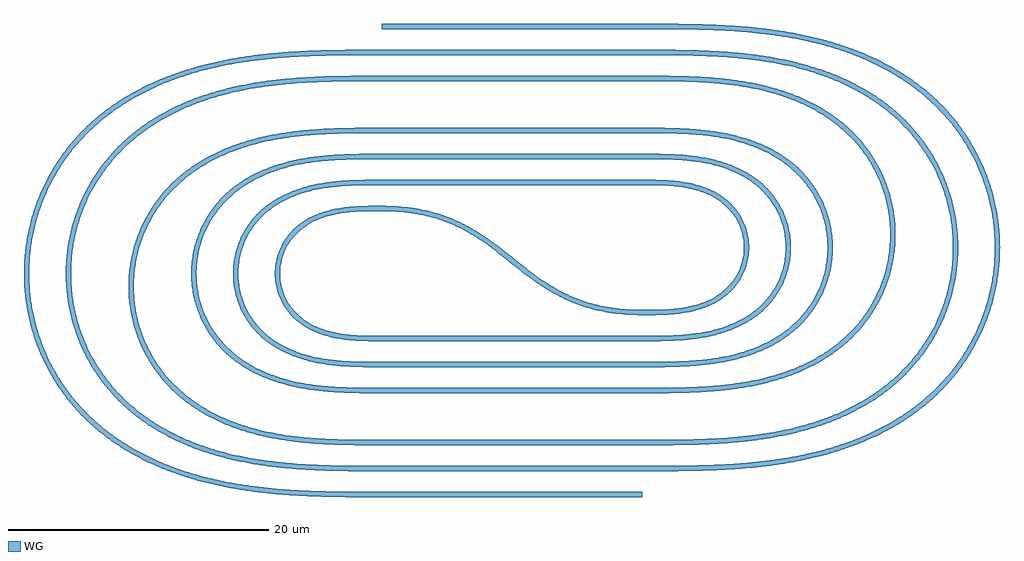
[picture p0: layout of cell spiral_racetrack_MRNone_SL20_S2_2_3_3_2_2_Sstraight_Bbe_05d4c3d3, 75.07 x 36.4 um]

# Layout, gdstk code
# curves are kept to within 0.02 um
from math import pi, radians
import gdstk
lib = gdstk.Library(unit=1e-6, precision=1e-09)
def R(c, l, rs):  # rectangles x0, y0, x1, y1
    for r in rs: c.add(gdstk.rectangle(r[:2], r[2:], *l))
def P(c, l, *ps):  # polygons
    for p in ps: c.add(gdstk.Polygon(p, *l))
WG = (3, 0)

bend_s_s20_m8_csstrip_wn = lib.new_cell('bend_s_S20_m8_CSstrip_WNone_AMRVFalse')
P(bend_s_s20_m8_csstrip_wn, WG, [(20,-8.2),(18.528,-8.139),(17.195,-7.964),(16.455,-7.81),(15.757,-7.621),(14.472,-7.155),(13.314,-6.589),(12.257,-5.946),(11.273,-5.25),(9.109,-3.547),(8.011,-2.723),(7.017,-2.066),(6.13,-1.569),(5.371,-1.212),(4.766,-0.973),(3.907,-0.697),(3.218,-0.526),(2.486,-0.388),(1.708,-0.285),(0.881,-0.222),(0,-0.2),(0,0.2),(1.472,0.139),(2.805,-0.036),(3.545,-0.19),(4.243,-0.379),(5.528,-0.845),(6.686,-1.411),(7.743,-2.054),(8.727,-2.75),(10.891,-4.453),(11.989,-5.277),(12.983,-5.934),(13.87,-6.431),(14.629,-6.788),(15.234,-7.027),(16.093,-7.303),(16.782,-7.474),(17.514,-7.612),(18.292,-7.715),(19.119,-7.778),(20,-7.8)])

bend_euler_r5_a180_p0p5_ = lib.new_cell('bend_euler_R5_A180_P0p5_WNone_CSstrip_AMRVFalse')
P(bend_euler_r5_a180_p0p5_, WG, [(0,-0.2),(0,0.2),(1.95,0.238),(2.825,0.318),(3.515,0.429),(4.192,0.593),(4.686,0.757),(5.318,1.034),(5.766,1.29),(6.185,1.588),(6.685,2.052),(7.01,2.447),(7.285,2.878),(7.508,3.338),(7.676,3.821),(7.786,4.321),(7.839,5),(7.786,5.679),(7.676,6.179),(7.508,6.662),(7.285,7.122),(7.01,7.553),(6.685,7.948),(6.185,8.412),(5.766,8.71),(5.318,8.966),(4.686,9.243),(4.192,9.407),(3.515,9.571),(2.825,9.682),(1.95,9.762),(0,9.8),(0,10.2),(1.974,10.161),(2.875,10.079),(3.593,9.963),(4.303,9.791),(4.826,9.618),(5.5,9.322),(5.981,9.047),(6.434,8.725),(6.85,8.354),(7.103,8.08),(7.44,7.635),(7.634,7.318),(7.878,6.815),(8.007,6.466),(8.148,5.925),(8.225,5.372),(8.239,5),(8.225,4.628),(8.148,4.075),(8.007,3.534),(7.878,3.185),(7.634,2.682),(7.44,2.365),(6.979,1.78),(6.577,1.393),(6.286,1.162),(5.5,0.678),(4.653,0.32),(3.772,0.074),(2.695,-0.1),(1.613,-0.179)])

straight_l20_csstrip_wno = lib.new_cell('straight_L20_CSstrip_WNone_N2')
R(straight_l20_csstrip_wno, WG, [(0,-0.2,20,0.2)])

bend_euler_r7_a180_p0p5_ = lib.new_cell('bend_euler_R7_A180_P0p5_WNone_CSstrip_AMRVFalse')
P(bend_euler_r7_a180_p0p5_, WG, [(0,-0.2),(0,0.2),(1.748,0.214),(3.137,0.282),(4.342,0.418),(5.358,0.614),(6.023,0.793),(6.831,1.08),(7.455,1.363),(8.194,1.789),(8.745,2.19),(9.371,2.768),(9.919,3.435),(10.286,4.02),(10.65,4.803),(10.859,5.461),(11.016,6.31),(11.055,7),(11.016,7.69),(10.859,8.539),(10.65,9.197),(10.286,9.98),(9.919,10.565),(9.371,11.232),(8.745,11.81),(8.194,12.211),(7.455,12.637),(6.831,12.92),(6.023,13.207),(5.358,13.386),(4.342,13.582),(3.137,13.718),(1.748,13.786),(0,13.8),(0,14.2),(1.758,14.186),(2.992,14.13),(4.05,14.027),(5.102,13.852),(6.139,13.59),(6.982,13.291),(7.795,12.911),(8.563,12.445),(9.135,12.006),(9.533,11.639),(9.907,11.233),(10.349,10.645),(10.723,10.011),(10.955,9.511),(11.145,8.992),(11.329,8.28),(11.414,7.735),(11.455,7),(11.414,6.265),(11.329,5.72),(11.145,5.008),(10.955,4.489),(10.723,3.989),(10.349,3.355),(10.023,2.91),(9.662,2.493),(9.271,2.113),(8.71,1.66),(8.262,1.358),(7.635,1.006),(7.148,0.778),(6.48,0.521),(5.277,0.185),(4.578,0.05),(3.698,-0.068),(2.286,-0.169)])

bend_euler_r9_a180_p0p5_ = lib.new_cell('bend_euler_R9_A180_P0p5_WNone_CSstrip_AMRVFalse')
P(bend_euler_r9_a180_p0p5_, WG, [(0,-0.2),(0,0.2),(2.252,0.218),(3.975,0.3),(5.513,0.469),(6.861,0.724),(7.852,0.993),(8.816,1.34),(9.592,1.692),(10.479,2.196),(11.305,2.792),(12.056,3.483),(12.726,4.283),(13.287,5.163),(13.663,5.947),(13.999,6.935),(14.202,7.959),(14.27,9),(14.202,10.041),(13.999,11.065),(13.663,12.053),(13.287,12.837),(12.726,13.717),(12.056,14.517),(11.305,15.208),(10.479,15.804),(9.592,16.308),(8.816,16.66),(7.852,17.007),(6.861,17.276),(5.513,17.531),(3.975,17.7),(2.252,17.782),(0,17.8),(0,18.2),(2.087,18.186),(3.656,18.123),(5.225,17.975),(6.437,17.777),(7.634,17.489),(8.803,17.096),(9.929,16.585),(10.843,16.044),(11.557,15.518),(12.217,14.924),(12.826,14.244),(13.259,13.654),(13.638,13.03),(14.033,12.206),(14.336,11.344),(14.509,10.634),(14.639,9.73),(14.67,9),(14.639,8.27),(14.509,7.366),(14.336,6.656),(14.033,5.794),(13.638,4.97),(13.259,4.346),(12.826,3.756),(12.217,3.076),(11.694,2.595),(11.134,2.158),(10.544,1.765),(9.772,1.335),(9.13,1.037),(8.306,0.721),(7.464,0.463),(6.781,0.295),(5.919,0.128),(4.877,-0.017),(2.784,-0.166)])

bend_euler_r12_a180_p0p5 = lib.new_cell('bend_euler_R12_A180_P0p5_WNone_CSstrip_AMRVFalse')
P(bend_euler_r12_a180_p0p5, WG, [(0,-0.2),(0,0.2),(3.109,0.227),(5.173,0.324),(7.053,0.516),(8.911,0.843),(10.237,1.184),(11.531,1.625),(12.78,2.177),(13.967,2.846),(15.074,3.638),(15.59,4.08),(16.079,4.554),(16.54,5.062),(16.968,5.598),(17.361,6.161),(17.717,6.748),(18.034,7.356),(18.312,7.983),(18.549,8.627),(18.744,9.285),(18.896,9.954),(19.006,10.631),(19.072,11.314),(19.094,12),(19.072,12.686),(19.006,13.369),(18.896,14.046),(18.744,14.715),(18.549,15.373),(18.312,16.017),(18.034,16.644),(17.717,17.252),(17.361,17.839),(16.968,18.402),(16.54,18.938),(16.079,19.446),(15.59,19.92),(15.074,20.362),(13.967,21.154),(12.78,21.823),(11.531,22.375),(10.237,22.816),(8.911,23.157),(7.053,23.484),(5.173,23.676),(3.109,23.773),(0,23.8),(0,24.2),(2.772,24.181),(5.028,24.087),(6.934,23.903),(8.655,23.62),(10.183,23.248),(11.676,22.748),(12.484,22.408),(13.115,22.102),(13.731,21.765),(14.476,21.3),(15.325,20.674),(16.242,19.851),(16.959,19.061),(17.598,18.206),(18.151,17.293),(18.614,16.331),(18.983,15.329),(19.254,14.297),(19.443,13.066),(19.494,12),(19.443,10.934),(19.289,9.877),(19.035,8.841),(18.682,7.833),(18.235,6.864),(17.598,5.794),(17.071,5.077),(16.367,4.276),(15.728,3.666),(14.907,3.004),(14.032,2.415),(13.115,1.898),(12.163,1.451),(11.018,1.013),(10.015,0.704),(8.826,0.415),(7.625,0.195),(6.415,0.035),(5.202,-0.075),(3.813,-0.151)])

bend_euler_r15_a180_p0p5 = lib.new_cell('bend_euler_R15_A180_P0p5_WNone_CSstrip_AMRVFalse')
P(bend_euler_r15_a180_p0p5, WG, [(0,-0.2),(0,0.2),(3.449,0.223),(6.371,0.348),(8.593,0.565),(9.95,0.769),(10.96,0.964),(12.786,1.425),(14.405,1.974),(15.968,2.662),(16.722,3.06),(17.455,3.496),(18.163,3.97),(18.843,4.483),(19.491,5.035),(20.225,5.752),(20.8,6.397),(21.332,7.079),(21.819,7.793),(22.26,8.536),(22.651,9.307),(22.992,10.101),(23.228,10.752),(23.475,11.58),(23.668,12.422),(23.806,13.276),(23.889,14.136),(23.917,15),(23.889,15.864),(23.806,16.724),(23.668,17.578),(23.475,18.42),(23.228,19.248),(22.992,19.899),(22.651,20.693),(22.26,21.464),(21.819,22.207),(21.332,22.921),(20.8,23.603),(20.225,24.248),(19.491,24.965),(18.843,25.517),(18.163,26.03),(17.455,26.504),(16.722,26.94),(15.968,27.338),(14.405,28.026),(12.786,28.575),(10.96,29.036),(9.95,29.231),(8.593,29.435),(6.371,29.652),(3.449,29.777),(0,29.8),(0,30.2),(3.803,30.169),(6.399,30.051),(8.816,29.809),(10.873,29.463),(12.06,29.19),(12.899,28.959),(13.894,28.639),(14.873,28.27),(15.832,27.849),(16.611,27.457),(17.371,27.026),(18.108,26.555),(19.229,25.719),(20.267,24.779),(21.107,23.859),(21.962,22.72),(22.695,21.499),(23.298,20.21),(23.766,18.865),(24.06,17.654),(24.261,16.245),(24.316,14.822),(24.225,13.401),(24.025,12.171),(23.662,10.794),(23.23,9.626),(22.695,8.501),(21.962,7.28),(21.22,6.279),(20.392,5.348),(19.497,4.507),(18.537,3.746),(17.371,2.974),(16.302,2.382),(15.034,1.796),(13.729,1.304),(12.396,0.899),(10.873,0.537),(9.332,0.264),(7.954,0.087),(6.399,-0.051),(4.668,-0.142),(2.938,-0.186)])

bend_euler_r17_a180_p0p5 = lib.new_cell('bend_euler_R17_A180_P0p5_WNone_CSstrip_AMRVFalse')
P(bend_euler_r17_a180_p0p5, WG, [(0,-0.2),(0,0.2),(3.982,0.228),(7.089,0.359),(8.465,0.471),(9.836,0.626),(11.029,0.803),(12.215,1.022),(13.39,1.288),(14.386,1.556),(16.18,2.153),(17.135,2.54),(18.069,2.973),(18.83,3.369),(19.717,3.889),(20.433,4.36),(21.259,4.971),(22.046,5.631),(22.788,6.341),(23.48,7.098),(24.017,7.764),(24.611,8.601),(25.147,9.476),(25.623,10.385),(26.037,11.324),(26.387,12.289),(26.628,13.109),(26.823,13.942),(26.995,14.953),(27.098,15.974),(27.133,17),(27.098,18.026),(26.995,19.047),(26.823,20.058),(26.628,20.891),(26.387,21.711),(26.037,22.676),(25.623,23.615),(25.147,24.524),(24.611,25.399),(24.017,26.236),(23.48,26.902),(22.788,27.659),(22.046,28.369),(21.259,29.029),(20.433,29.64),(19.717,30.111),(18.83,30.631),(18.069,31.027),(17.135,31.46),(16.18,31.847),(14.386,32.444),(13.39,32.712),(12.215,32.978),(11.029,33.197),(9.836,33.374),(8.465,33.529),(7.089,33.641),(3.982,33.772),(0,33.8),(0,34.2),(3.99,34.172),(7.116,34.04),(8.504,33.927),(9.888,33.77),(11.095,33.592),(12.295,33.37),(13.656,33.058),(14.665,32.779),(15.829,32.401),(16.81,32.03),(17.773,31.612),(18.714,31.147),(19.63,30.633),(20.516,30.068),(21.78,29.124),(22.95,28.064),(24.009,26.892),(24.847,25.766),(25.665,24.414),(26.342,22.988),(26.872,21.5),(27.215,20.139),(27.453,18.577),(27.533,17),(27.453,15.423),(27.215,13.861),(26.872,12.5),(26.342,11.012),(25.665,9.586),(24.847,8.234),(24.009,7.108),(23.074,6.061),(22.049,5.102),(20.947,4.234),(19.63,3.367),(18.403,2.692),(17.133,2.104),(15.498,1.485),(13.825,0.986),(12.295,0.63),(10.75,0.353),(9.023,0.126),(7.289,-0.028),(5.379,-0.131),(2.949,-0.189)])

spiral_racetrack_mrnone_ = lib.new_cell('spiral_racetrack_MRNone_SL20_S2_2_3_3_2_2_Sstraight_Bbe_05d4c3d3')
spiral_racetrack_mrnone_.add(gdstk.Reference(bend_s_s20_m8_csstrip_wn, (0,0)))
spiral_racetrack_mrnone_.add(gdstk.Reference(bend_euler_r5_a180_p0p5_, (0,0), rotation=pi))
spiral_racetrack_mrnone_.add(gdstk.Reference(straight_l20_csstrip_wno, (0,-10)))
spiral_racetrack_mrnone_.add(gdstk.Reference(bend_euler_r7_a180_p0p5_, (20,-10)))
spiral_racetrack_mrnone_.add(gdstk.Reference(straight_l20_csstrip_wno, (20,4), rotation=pi))
spiral_racetrack_mrnone_.add(gdstk.Reference(bend_euler_r9_a180_p0p5_, (0,4), rotation=pi))
spiral_racetrack_mrnone_.add(gdstk.Reference(straight_l20_csstrip_wno, (0,-14)))
spiral_racetrack_mrnone_.add(gdstk.Reference(bend_euler_r12_a180_p0p5, (20,-14)))
spiral_racetrack_mrnone_.add(gdstk.Reference(straight_l20_csstrip_wno, (20,10), rotation=pi))
spiral_racetrack_mrnone_.add(gdstk.Reference(bend_euler_r15_a180_p0p5, (0,10), rotation=pi))
spiral_racetrack_mrnone_.add(gdstk.Reference(straight_l20_csstrip_wno, (0,-20)))
spiral_racetrack_mrnone_.add(gdstk.Reference(bend_euler_r17_a180_p0p5, (20,-20)))
spiral_racetrack_mrnone_.add(gdstk.Reference(straight_l20_csstrip_wno, (20,14), rotation=pi))
spiral_racetrack_mrnone_.add(gdstk.Reference(bend_euler_r5_a180_p0p5_, (20,-8)))
spiral_racetrack_mrnone_.add(gdstk.Reference(straight_l20_csstrip_wno, (20,2), rotation=pi))
spiral_racetrack_mrnone_.add(gdstk.Reference(bend_euler_r7_a180_p0p5_, (0,2), rotation=pi))
spiral_racetrack_mrnone_.add(gdstk.Reference(straight_l20_csstrip_wno, (0,-12)))
spiral_racetrack_mrnone_.add(gdstk.Reference(bend_euler_r9_a180_p0p5_, (20,-12)))
spiral_racetrack_mrnone_.add(gdstk.Reference(straight_l20_csstrip_wno, (20,6), rotation=pi))
spiral_racetrack_mrnone_.add(gdstk.Reference(bend_euler_r12_a180_p0p5, (0,6), rotation=pi))
spiral_racetrack_mrnone_.add(gdstk.Reference(straight_l20_csstrip_wno, (0,-18)))
spiral_racetrack_mrnone_.add(gdstk.Reference(bend_euler_r15_a180_p0p5, (20,-18)))
spiral_racetrack_mrnone_.add(gdstk.Reference(straight_l20_csstrip_wno, (20,12), rotation=pi))
spiral_racetrack_mrnone_.add(gdstk.Reference(bend_euler_r17_a180_p0p5, (0,12), rotation=pi))
spiral_racetrack_mrnone_.add(gdstk.Reference(straight_l20_csstrip_wno, (0,-22)))

lib.write_gds('spiral_racetrack_MRNone_SL20_S2_2_3_3_2_2_Sstraight_Bbe_05d4c3d3.gds')
